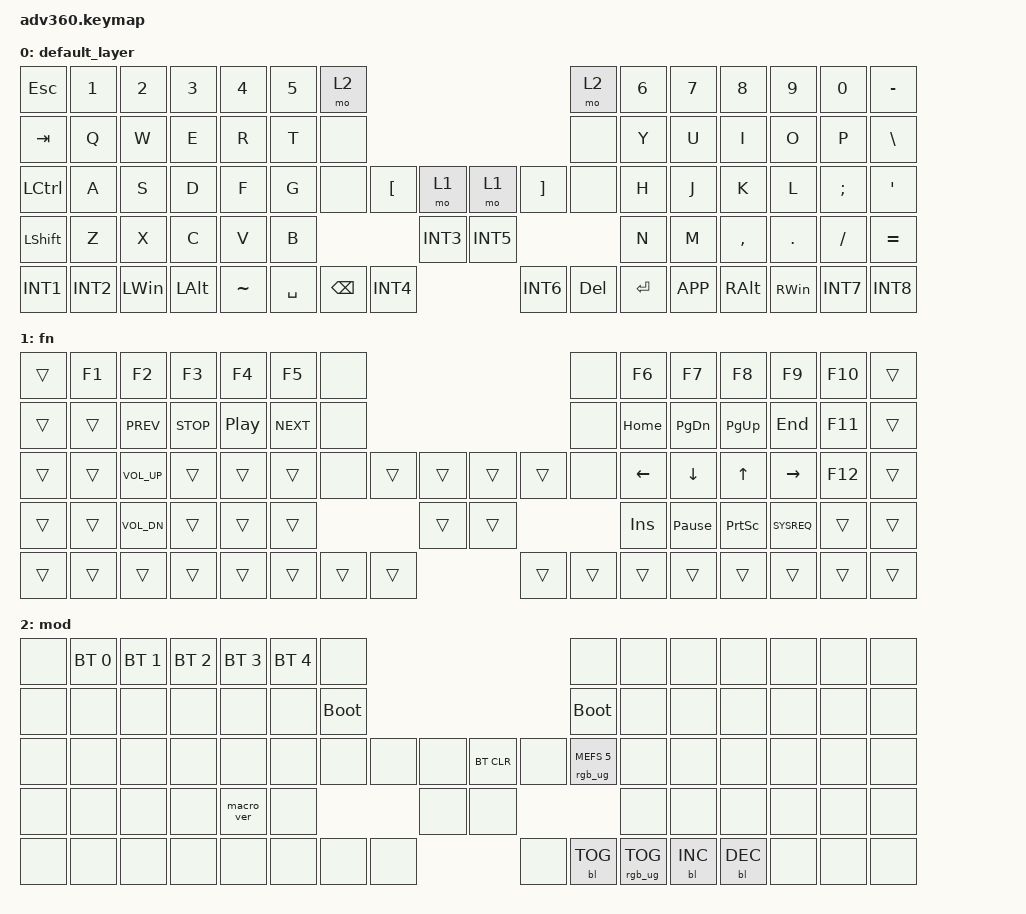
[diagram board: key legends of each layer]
#include <behaviors.dtsi>
#include <dt-bindings/zmk/keys.h>
#include <dt-bindings/zmk/bt.h>
#include <dt-bindings/zmk/rgb.h>
#include <dt-bindings/zmk/backlight.h>

/ {
    behaviors {
      #include "macros.dtsi"
      #include "version.dtsi"
      #ifndef VERSION_MACRO
      macro_ver: macro_ver {
        compatible = "zmk,behavior-macro";
        label = "macro_version";
        #binding-cells = <0>;
        bindings = <&kp RET>;
      };
      #endif
    };

  keymap {
    compatible = "zmk,keymap";

    default_layer {
      bindings = <
        &kp ESC    &kp N1    &kp N2    &kp N3    &kp N4     &kp N5  &mo 2                                                               &mo 2  &kp N6  &kp N7     &kp N8     &kp N9    &kp N0    &kp MINUS
        &kp TAB    &kp Q     &kp W     &kp E     &kp R      &kp T   &none                                                               &none  &kp Y   &kp U      &kp I      &kp O     &kp P     &kp BSLH
        &kp LCTRL  &kp A     &kp S     &kp D     &kp F      &kp G   &none             &kp LBKT  &mo 1     &mo 1     &kp RBKT            &none  &kp H   &kp J      &kp K      &kp L     &kp SEMI  &kp SQT
        &kp LSHFT  &kp Z     &kp X     &kp C     &kp V      &kp B                               &kp INT3  &kp INT5                             &kp N   &kp M      &kp COMMA  &kp DOT   &kp FSLH  &kp EQUAL
        &kp INT1   &kp INT2  &kp LWIN  &kp LALT  &kp TILDE                 &kp SPACE  &kp BSPC  &kp INT4  &kp INT6  &kp DEL  &kp ENTER                 &kp K_APP  &kp RALT   &kp RWIN  &kp INT7  &kp INT8
      >;
    };
    fn {
      bindings = <
        &trans  &kp F1  &kp F2        &kp F3      &kp F4    &kp F5      &none                                                  &none  &kp F6    &kp F7           &kp F8     &kp F9      &kp F10  &trans
        &trans  &trans  &kp C_PREV    &kp C_STOP  &kp C_PP  &kp C_NEXT  &none                                                  &none  &kp HOME  &kp PG_DN        &kp PG_UP  &kp END     &kp F11  &trans
        &trans  &trans  &kp C_VOL_UP  &trans      &trans    &trans      &none          &trans  &trans  &trans  &trans          &none  &kp LEFT  &kp DOWN         &kp UP     &kp RIGHT   &kp F12  &trans
        &trans  &trans  &kp C_VOL_DN  &trans      &trans    &trans                             &trans  &trans                         &kp INS   &kp PAUSE_BREAK  &kp PSCRN  &kp SYSREQ  &trans   &trans
        &trans  &trans  &trans        &trans      &trans                       &trans  &trans  &trans  &trans  &trans  &trans                   &trans           &trans     &trans      &trans   &trans
      >;
    };
    mod {
      bindings = <
        &none  &bt BT_SEL 0  &bt BT_SEL 1  &bt BT_SEL 2  &bt BT_SEL 3  &bt BT_SEL 4  &none                                                                      &none                   &none  &none       &none       &none  &none  &none
        &none  &none         &none         &none         &none         &none         &bootloader                                                                &bootloader             &none  &none       &none       &none  &none  &none
        &none  &none         &none         &none         &none         &none         &none               &none  &none  &bt BT_CLR  &none                        &rgb_ug RGB_MEFS_CMD 5  &none  &none       &none       &none  &none  &none
        &none  &none         &none         &none         &macro_ver    &none                                    &none  &none                                                            &none  &none       &none       &none  &none  &none
        &none  &none         &none         &none         &none                                    &none  &none  &none  &none       &bl BL_TOG  &rgb_ug RGB_TOG                                 &bl BL_INC  &bl BL_DEC  &none  &none  &none
      >;
    };
  };
};
